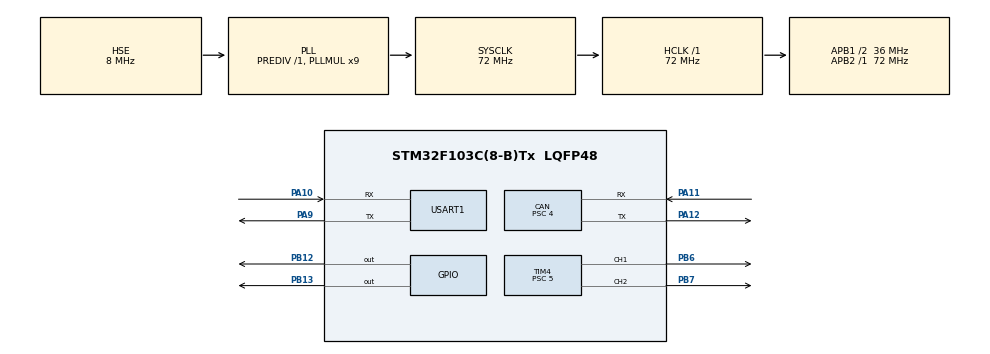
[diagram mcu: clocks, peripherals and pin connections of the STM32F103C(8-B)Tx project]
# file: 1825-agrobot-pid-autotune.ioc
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CAN.ABOM=ENABLE
CAN.BS1=CAN_BS1_15TQ
CAN.BS2=CAN_BS2_2TQ
CAN.CalculateBaudRate=500000
CAN.CalculateTimeBit=2000
CAN.CalculateTimeQuantum=111.11111111111111
CAN.NART=ENABLE
CAN.Prescaler=4
Dma.Request0=USART1_RX
Dma.USART1_RX.0.Direction=DMA_PERIPH_TO_MEMORY
Dma.USART1_RX.0.Instance=DMA1_Channel5
Dma.USART1_RX.0.MemDataAlignment=DMA_MDATAALIGN_BYTE
Dma.USART1_RX.0.MemInc=DMA_MINC_ENABLE
Dma.USART1_RX.0.Mode=DMA_CIRCULAR
Dma.USART1_RX.0.PeriphDataAlignment=DMA_PDATAALIGN_BYTE
Dma.USART1_RX.0.PeriphInc=DMA_PINC_DISABLE
Dma.USART1_RX.0.Priority=DMA_PRIORITY_MEDIUM
Mcu.Family=STM32F1
Mcu.Name=STM32F103C(8-B)Tx
Mcu.Package=LQFP48
NVIC.CAN1_SCE_IRQn=true\:0\:0\:false\:false\:true\:true\:true\:true
NVIC.DMA1_Channel5_IRQn=true\:0\:0\:false\:false\:true\:false\:true\:true
NVIC.PriorityGroup=NVIC_PRIORITYGROUP_4
NVIC.TIM1_UP_IRQn=true\:0\:0\:false\:false\:true\:true\:true\:true
NVIC.TIM3_IRQn=true\:15\:0\:false\:false\:true\:false\:true\:true
NVIC.TimeBase=TIM3_IRQn
NVIC.TimeBaseIP=TIM3
NVIC.USART1_IRQn=true\:0\:0\:false\:false\:true\:true\:true\:true
NVIC.USB_LP_CAN1_RX0_IRQn=true\:0\:0\:false\:false\:true\:true\:true\:true
PA10.GPIO_PuPd=GPIO_NOPULL
PA10.Mode=Asynchronous
PA10.Signal=USART1_RX
PA11.Mode=CAN_Activate
PA11.Signal=CAN_RX
PA12.Mode=CAN_Activate
PA12.Signal=CAN_TX
PA13.Mode=Serial_Wire
PA13.Signal=SYS_JTMS-SWDIO
PA14.Mode=Serial_Wire
PA14.Signal=SYS_JTCK-SWCLK
PA9.Mode=Asynchronous
PA9.Signal=USART1_TX
PB12.Signal=GPIO_Output
PB13.Signal=GPIO_Output
PB6.Signal=S_TIM4_CH1
PB7.Signal=S_TIM4_CH2
PD0-OSC_IN.Mode=HSE-External-Oscillator
PD0-OSC_IN.Signal=RCC_OSC_IN
PD1-OSC_OUT.Mode=HSE-External-Oscillator
PD1-OSC_OUT.Signal=RCC_OSC_OUT
ProjectManager.HeapSize=0x200
ProjectManager.StackSize=0x400
ProjectManager.TargetToolchain=CMake
RCC.AHBFreq_Value=72000000
RCC.APB1CLKDivider=RCC_HCLK_DIV2
RCC.APB1Freq_Value=36000000
RCC.APB1TimFreq_Value=72000000
RCC.APB2Freq_Value=72000000
RCC.APB2TimFreq_Value=72000000
RCC.HCLKFreq_Value=72000000
RCC.PLLMUL=RCC_PLL_MUL9
RCC.PLLSourceVirtual=RCC_PLLSOURCE_HSE
RCC.SYSCLKFreq_VALUE=72000000
RCC.SYSCLKSource=RCC_SYSCLKSOURCE_PLLCLK
RCC.USBFreq_Value=72000000
SH.S_TIM4_CH1.0=TIM4_CH1,PWM Generation1 CH1
SH.S_TIM4_CH2.0=TIM4_CH2,PWM Generation2 CH2
TIM1.Period=1000
TIM1.Prescaler=719
TIM4.Channel-PWM\ Generation1\ CH1=TIM_CHANNEL_1
TIM4.Channel-PWM\ Generation2\ CH2=TIM_CHANNEL_2
TIM4.Period=1000
TIM4.Prescaler=5
USART1.VirtualMode=VM_ASYNC
VP_SYS_VS_tim3.Mode=TIM3
VP_TIM1_VS_ClockSourceITR.Mode=TriggerSource_ITR0
board=custom

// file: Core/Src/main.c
/* USER CODE BEGIN Header */
/**
  ******************************************************************************
  * @file           : main.c
  * @brief          : Main program body
  ******************************************************************************
  * @attention
  *
  * Copyright (c) 2025 STMicroelectronics.
  * All rights reserved.
  *
  * This software is licensed under terms that can be found in the LICENSE file
  * in the root directory of this software component.
  * If no LICENSE file comes with this software, it is provided AS-IS.
  *
  ******************************************************************************
  */
/* USER CODE END Header */
#include "main.h"
#include "can.h"
#include "dma.h"
#include "tim.h"
#include "usart.h"
#include "gpio.h"

/* USER CODE BEGIN Includes */
#include <math.h>
/* USER CODE END Includes */

/* USER CODE BEGIN PTD */
static struct {
	uint8_t on;
	uint8_t finish;
	float current;
	float target;
	float p_k;
	float i_k;
	float d_k;
	float error;
	float sum_error;
	float dif_error;
	float out;
	float max_sum_error;
	float min_output;
	float max_output;
	float error_end;
}PID_speed;

uint32_t TxMailbox = 0;

static  CAN_TxHeaderTypeDef angle = {
  .DLC = 4,
  .StdId = 0x12,
  .IDE = CAN_ID_STD,
  .RTR = CAN_RTR_DATA,
  .TransmitGlobalTime = 0,
};
static uint8_t angle_request[4] = {
  0x04, 0x12, 0x01, 0x00
};

static  CAN_TxHeaderTypeDef speed = {
  .DLC = 4,
  .StdId = 0x12,
  .IDE = CAN_ID_STD,
  .RTR = CAN_RTR_DATA,
  .TransmitGlobalTime = 0,
};
uint8_t speed_request[7] = {
  0x04, 0x12, 0x0A, 0x00
};

static CAN_RxHeaderTypeDef encoder_answer = {
  .DLC = 7,
  .StdId = 0x12,
  .IDE = CAN_ID_STD,
  .RTR = CAN_RTR_DATA,
  .Timestamp = 0x00,
};
uint8_t encoder_data[7];

matlab_serial_t serial;
float matlab_pid_ref[2] = {0.0, 0.0};
float matlab_pid_duty = 0.0;
uint32_t hal_delay = 0;

float angle_recv = 0.0;
float speed_recv = 0.0;
uint32_t err_c = 0x00;
/* USER CODE END PTD */

void SystemClock_Config(void);

/* USER CODE BEGIN 0 */
static void driver_steer_set_duty(float duty)
{
	if(duty > 1.0) duty = 1.0;
	if(duty < -1.0) duty = -1.0;
  if(isnan(duty) || isinf(duty)) duty = 0.0;

	if(duty >= 0.0)
	{
    TIM4->CCR1 = (uint32_t)(TIM4->ARR * duty);
    HAL_GPIO_WritePin(GPIOB, GPIO_PIN_13, GPIO_PIN_SET);
	} else
	{
    TIM4->CCR1 = (uint32_t)(TIM4->ARR * -duty);
    HAL_GPIO_WritePin(GPIOB, GPIO_PIN_13, GPIO_PIN_RESET);
	}
}
/* USER CODE END 0 */

int main(void)
{

  /* MCU Configuration--------------------------------------------------------*/

  /* Reset of all peripherals, Initializes the Flash interface and the Systick. */
  HAL_Init();

  /* Configure the system clock */
  SystemClock_Config();

  /* Initialize all configured peripherals */
  MX_GPIO_Init();
  MX_DMA_Init();
  MX_CAN_Init();
  MX_TIM4_Init();
  MX_USART1_UART_Init();
  MX_TIM1_Init();
  /* USER CODE BEGIN 2 */
  HAL_CAN_Start(&hcan);
  HAL_CAN_ActivateNotification(&hcan, CAN_IT_RX_FIFO0_MSG_PENDING | CAN_IT_ERROR | CAN_IT_BUSOFF | CAN_IT_LAST_ERROR_CODE);
  HAL_TIM_PWM_Start(&htim4, TIM_CHANNEL_1);
  HAL_TIM_PWM_Start(&htim4, TIM_CHANNEL_2);
  HAL_GPIO_WritePin(GPIOB, GPIO_PIN_12, GPIO_PIN_RESET);
  HAL_GPIO_WritePin(GPIOB, GPIO_PIN_13, GPIO_PIN_RESET);
  matlab_serial_init_hil(serial, huart1, 0x3A, 0x0D0A, matlab_pid_ref, matlab_pid_duty);

  /* USER CODE END 2 */

  /* Infinite loop */
  /* USER CODE BEGIN WHILE */
  uint32_t prev_tick, cur_tick, err_count_tick;
  cur_tick = HAL_GetTick();
  prev_tick = HAL_GetTick();
  // err_count_tick = HAL_GetTick();
  //matlab_pid_ref[0] = 1.570785;
  //status_t ret = RECEIVING_ERROR;
  //driver_steer_set_duty(0.1);
  while (1)
  {
    cur_tick = HAL_GetTick();
    if(cur_tick - prev_tick >= 10)
    {
      prev_tick = cur_tick;
      HAL_CAN_AddTxMessage(&hcan, &angle, angle_request, &TxMailbox);
      HAL_CAN_AddTxMessage(&hcan, &speed, speed_request, &TxMailbox);
      matlab_pid_ref[0] = angle_recv;
      matlab_pid_ref[1] = speed_recv;
      matlab_serial_send(&serial, 1);
    }
    driver_steer_set_duty(matlab_pid_duty);

    //matlab_serial_send(&serial, 10);
    // cur_tick = HAL_GetTick();
    // ret = matlab_serial_receive_common(&serial, 10);
    // driver_steer_set_duty(matlab_pid_duty);
    // if(ret != STATUS_OK) err_c++;
    // if( cur_tick - prev_tick >= 10)
    // {
    //   prev_tick = cur_tick;

    //   matlab_pid_ref[1] = speed_recv;
    //   matlab_serial_send(&serial, 10);
    // }
    // if(cur_tick - err_count_tick >= 1000)
    // {
    //   err_count_tick = cur_tick;
    //   err_c = 0;
    // }
    /* USER CODE END WHILE */

  }
}

// Receive to IDLE flag
status_t ret = RECEIVING_ERROR;
void HAL_UARTEx_RxEventCallback(UART_HandleTypeDef *huart, uint16_t Size)
{
  (void)Size; // warning avoiding
  if(huart == &huart1)
  {
    ret = matlab_serial_parse_rx(&serial);
    if(ret != STATUS_OK)
    {
      err_c++;
    }
  }
}

void SystemClock_Config(void)
{
  RCC_OscInitTypeDef RCC_OscInitStruct = {0};
  RCC_ClkInitTypeDef RCC_ClkInitStruct = {0};

  /** Initializes the RCC Oscillators according to the specified parameters
  * in the RCC_OscInitTypeDef structure.
  */
  RCC_OscInitStruct.OscillatorType = RCC_OSCILLATORTYPE_HSE;
  RCC_OscInitStruct.HSEState = RCC_HSE_ON;
  RCC_OscInitStruct.HSEPredivValue = RCC_HSE_PREDIV_DIV1;
  RCC_OscInitStruct.HSIState = RCC_HSI_ON;
  RCC_OscInitStruct.PLL.PLLState = RCC_PLL_ON;
  RCC_OscInitStruct.PLL.PLLSource = RCC_PLLSOURCE_HSE;
  RCC_OscInitStruct.PLL.PLLMUL = RCC_PLL_MUL9;
  if (HAL_RCC_OscConfig(&RCC_OscInitStruct) != HAL_OK)
  {
    Error_Handler();
  }

  /** Initializes the CPU, AHB and APB buses clocks
  */
  RCC_ClkInitStruct.ClockType = RCC_CLOCKTYPE_HCLK|RCC_CLOCKTYPE_SYSCLK
                              |RCC_CLOCKTYPE_PCLK1|RCC_CLOCKTYPE_PCLK2;
  RCC_ClkInitStruct.SYSCLKSource = RCC_SYSCLKSOURCE_PLLCLK;
  RCC_ClkInitStruct.AHBCLKDivider = RCC_SYSCLK_DIV1;
  RCC_ClkInitStruct.APB1CLKDivider = RCC_HCLK_DIV2;
  RCC_ClkInitStruct.APB2CLKDivider = RCC_HCLK_DIV1;

  if (HAL_RCC_ClockConfig(&RCC_ClkInitStruct, FLASH_LATENCY_2) != HAL_OK)
  {
    Error_Handler();
  }
}

/* USER CODE BEGIN 4 */
void set_duty(float duty)
{
	if(duty > 1.0) duty = 1.0;
	if(duty < -1.0) duty = -1.0;

	if(duty >= 0.0)
	{
    TIM4->CCR1 = (uint32_t)(TIM4->ARR * duty);
    HAL_GPIO_WritePin(GPIOB, GPIO_PIN_12, GPIO_PIN_RESET);
	} else
	{
			TIM4->CCR1 = (uint32_t)(TIM4->ARR * -duty);
			HAL_GPIO_WritePin(GPIOB, GPIO_PIN_12, GPIO_PIN_SET);
	}
}
int32_t data_speed_in = 0x00;
void HAL_CAN_RxFifo0MsgPendingCallback(CAN_HandleTypeDef *hcan)
{
  if(HAL_CAN_GetRxMessage(hcan, CAN_RX_FIFO0, &encoder_answer, encoder_data) == HAL_OK)
  {
    uint8_t message_type = encoder_data[2];

    switch(message_type)
    {
      case 0x01:
      {
        uint32_t data_angle_in = 0x00;
        data_angle_in += ((uint32_t)encoder_data[6]) << 24;
        data_angle_in += ((uint32_t)encoder_data[5]) << 16;
        data_angle_in += ((uint32_t)encoder_data[4]) << 8;
        data_angle_in += ((uint32_t)encoder_data[3]);

        angle_recv = ((float)data_angle_in) * 360.0 / 1024.0;
        break;
      }
      case 0x0A:
      {
        data_speed_in = 0x00;
        data_speed_in += ((uint32_t)encoder_data[6]) << 24;
        data_speed_in += ((uint32_t)encoder_data[5]) << 16;
        data_speed_in += ((uint32_t)encoder_data[4]) << 8;
        data_speed_in += ((uint32_t)encoder_data[3]);

        speed_recv = ((float)data_speed_in) * 0.61328125;
        break;
      }
    }
  }
}

void pid_init(void)
{
  PID_speed.p_k = 0.140;
  PID_speed.i_k = 0.0;
  PID_speed.d_k = 0.0;
  PID_speed.error = 0.0;
  PID_speed.sum_error = 0.0;
  PID_speed.dif_error = 0.0;
  PID_speed.max_output = 0.50;
  PID_speed.min_output = 0.01;
  PID_speed.max_sum_error = 5.0;
  PID_speed.out = 0.0;
  PID_speed.on = 0;
  PID_speed.error_end = 0.0;
}

void pid_calc(float speed)
{
	PID_speed.current = speed;
	PID_speed.dif_error = PID_speed.error;
	PID_speed.error = PID_speed.target - PID_speed.current;

	if(PID_speed.on)
	{
		PID_speed.sum_error += PID_speed.error;
		if(PID_speed.sum_error > PID_speed.max_sum_error) PID_speed.sum_error = PID_speed.max_sum_error;
		if(PID_speed.sum_error < -PID_speed.max_sum_error) PID_speed.sum_error = -PID_speed.max_sum_error;
	}

	PID_speed.out = 0.0;
	PID_speed.out += PID_speed.p_k * PID_speed.error;
	PID_speed.out += PID_speed.i_k * PID_speed.sum_error;
	PID_speed.out += PID_speed.d_k * PID_speed.dif_error;

	if(PID_speed.out > PID_speed.max_output) PID_speed.out = PID_speed.max_output; else
	if(PID_speed.out < -PID_speed.max_output) PID_speed.out = -PID_speed.max_output;

	if((PID_speed.out < PID_speed.min_output) && (PID_speed.out > -PID_speed.min_output))
		PID_speed.out = 0.0;

	if((PID_speed.error_end > PID_speed.error) && (-PID_speed.error_end < PID_speed.error))
	{
		PID_speed.finish = 1;
	} else PID_speed.finish = 0;

	if(PID_speed.on)
	{
		set_duty(PID_speed.out);
	} else 	set_duty(0.0);
}

/* USER CODE END 4 */

void HAL_TIM_PeriodElapsedCallback(TIM_HandleTypeDef *htim)
{
  if (htim->Instance == TIM3) {
    HAL_IncTick();
  }
}

void Error_Handler(void)
{
  __disable_irq();
  while (1)
  {
  }
}
